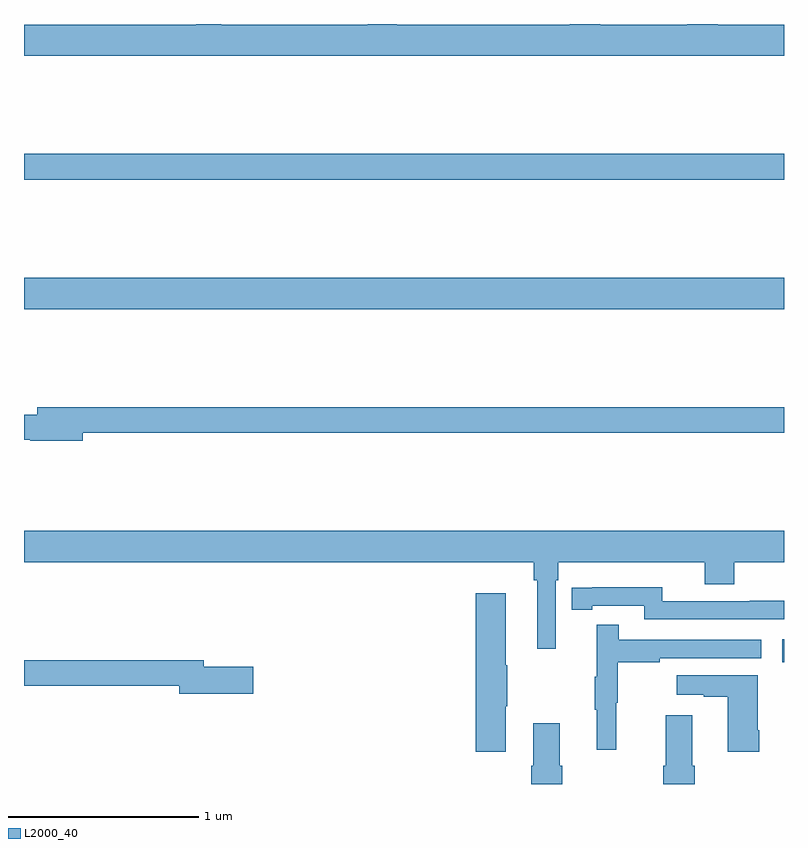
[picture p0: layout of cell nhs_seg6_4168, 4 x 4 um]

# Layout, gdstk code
import gdstk
lib = gdstk.Library(unit=1e-6, precision=1e-09)
def R(c, l, rs):  # rectangles x0, y0, x1, y1
    for r in rs: c.add(gdstk.rectangle(r[:2], r[2:], *l))
def P(c, l, *ps):  # polygons
    for p in ps: c.add(gdstk.Polygon(p, *l))
L2000_40 = (2000, 40)

nhs_seg6_4168 = lib.new_cell('nhs_seg6_4168')
R(nhs_seg6_4168, L2000_40, [(360.99,948.141,361,948.262), (357,950,361,950.164), (357,950.68,361,950.816)])
P(nhs_seg6_4168, L2000_40, [(361,951.496),(360.65,951.496),(360.65,951.5),(360.49,951.5),(360.49,951.496),(360.033,951.496),(360.033,951.5),(359.873,951.5),(359.873,951.496),(358.961,951.496),(358.961,951.5),(358.808,951.5),(358.808,951.496),(358.037,951.496),(358.037,951.5),(357.907,951.5),(357.907,951.496),(357,951.496),(357,951.332),(361,951.332)],
  [(357.31,949.348),(361,949.348),(361,949.484),(357.071,949.484),(357.071,949.443),(357,949.443),(357,949.313),(357.034,949.313),(357.034,949.306),(357.31,949.306)],
  [(359.799,948.572),(359.813,948.572),(359.813,948.668),(360.584,948.668),(360.584,948.551),(360.737,948.551),(360.737,948.668),(361,948.668),(361,948.832),(357,948.832),(357,948.668),(359.683,948.668),(359.683,948.572),(359.702,948.572),(359.702,948.213),(359.799,948.213)],
  [(361,948.464),(360.82,948.464),(360.82,948.462),(360.36,948.462),(360.36,948.535),(359.992,948.535),(359.992,948.534),(359.884,948.534),(359.884,948.418),(359.992,948.418),(359.992,948.438),(360.264,948.438),(360.264,948.366),(361,948.366)],
  [(359.536,947.908),(359.544,947.908),(359.544,948.125),(359.536,948.125),(359.536,948.505),(359.378,948.505),(359.378,947.67),(359.536,947.67)],
  [(360.116,947.928),(360.124,947.928),(360.124,948.142),(360.347,948.142),(360.347,948.162),(360.88,948.162),(360.88,948.258),(360.131,948.258),(360.131,948.337),(360.014,948.337),(360.014,948.065),(360.003,948.065),(360.003,947.891),(360.014,947.891),(360.014,947.679),(360.116,947.679)],
  [(358.207,948.116),(357.946,948.116),(357.946,948.152),(357,948.152),(357,948.016),(357.818,948.016),(357.818,947.974),(358.207,947.974)],
  [(360.87,947.782),(360.862,947.782),(360.862,948.073),(360.435,948.073),(360.435,947.969),(360.578,947.969),(360.578,947.959),(360.704,947.959),(360.704,947.67),(360.87,947.67)],
  [(360.53,947.596),(360.517,947.596),(360.517,947.863),(360.377,947.863),(360.377,947.596),(360.365,947.596),(360.365,947.5),(360.53,947.5)],
  [(359.821,947.596),(359.821,947.821),(359.681,947.821),(359.681,947.596),(359.669,947.596),(359.669,947.5),(359.834,947.5),(359.834,947.596)])

lib.write_gds('nhs_seg6_4168.gds')
